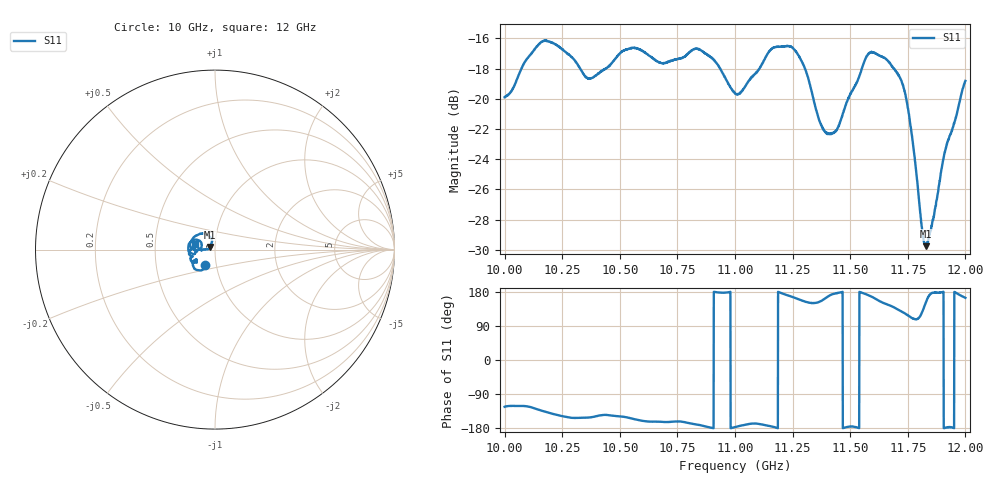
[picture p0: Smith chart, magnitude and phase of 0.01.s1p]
[Version] 2.0
! Rohde & Schwarz Vector Network Analyzer
! Rohde-Schwarz,ZNL20-2Port,1323001220200009,1.71.1.10-23.02.1.238
! Port Assignments:
! Nominal Port -> Actual Test Port
!  1 -> 1
! Created: GMT 2024-08-27 13:47:31
# Hz S DB R 50
[Number of Ports] 1
! freq[Hz]  S11[mag dB]  S11[ang]
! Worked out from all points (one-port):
!   2001 points, 10 GHz to 12 GHz, reference 50 ohm
!   lowest |S11| = -29.8 dB at 11.83 GHz (marker M1), VSWR 1.07, Z = 47.2 + j1.45 ohm
!   |S11| at or under -10 dB: start of sweep to end of sweep
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[Number of Frequencies] 28
[Network Data]
1e10  -19.90 -123.4
1.0155e10  -16.30 -132.7
1.025e10  -16.71 -148.2
1.0368e10  -18.68 -151.7
1.05e10  -16.99 -148.7
1.0564e10  -16.62 -156.2
1.0679e10  -17.63 -163.1
1.075e10  -17.36 -162.0
1.0853e10  -16.80 -172.5
1.0916e10  -17.58 179.1
1.1e10  -19.64 -177.2
1.116e10  -16.67 -175.6
1.125e10  -16.61 166.1
1.1301e10  -17.91 154.7
1.1364e10  -21.37 153.0
1.1397e10  -22.27 164.7
1.1442e10  -22.05 176.7
1.15e10  -19.69 -175.4
1.1571e10  -17.21 173.0
1.1601e10  -16.94 164.8
1.1708e10  -18.39 133.0
1.175e10  -20.60 117.6
1.1778e10  -23.65 108.1
1.1812e10  -28.65 126.3
1.1828e10  -29.76 151.8
1.1857e10  -28.18 177.4
1.1914e10  -23.35 -178.6
1.2e10  -18.81 164.0
[End]
